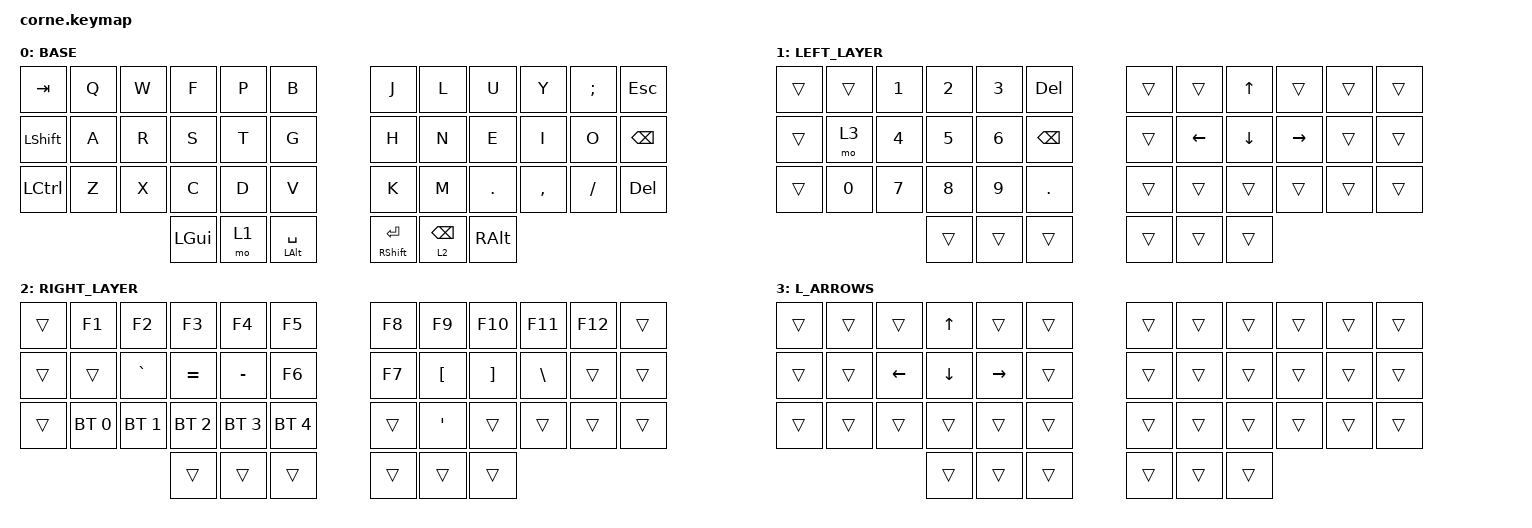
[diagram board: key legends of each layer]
/*
 * Copyright (c) 2020 The ZMK Contributors
 *
 * SPDX-License-Identifier: MIT
 */

#include <behaviors.dtsi>
#include <dt-bindings/zmk/keys.h>
#include <dt-bindings/zmk/bt.h>

#include <behaviors.dtsi>
#include <dt-bindings/zmk/bt.h>
#include <dt-bindings/zmk/keys.h>

#include <behaviors.dtsi>
#include <dt-bindings/zmk/bt.h>
#include <dt-bindings/zmk/keys.h>

/ {
    combos {
        compatible = "zmk,combos";

        copy_combo {
            bindings = <&copy>;
            key-positions = <15 16>;
            timeout-ms = <30>;
            require-prior-idle-ms = <30>;
            layers = <0>;
        };

        paste_combo {
            bindings = <&paste>;
            key-positions = <16 27>;
            timeout-ms = <30>;
            require-prior-idle-ms = <30>;
            layers = <0>;
        };

        cut_combo {
            bindings = <&cut>;
            key-positions = <16 3>;
            timeout-ms = <30>;
            require-prior-idle-ms = <30>;
            layers = <0>;
        };

        select_all_combo {
            bindings = <&select_all>;
            key-positions = <16 14>;
            timeout-ms = <30>;
            require-prior-idle-ms = <30>;
            layers = <0>;
        };

        enter_combo {
            bindings = <&kp ENTER>;
            key-positions = <27 28>;
            timeout-ms = <30>;
            require-prior-idle-ms = <30>;
            layers = <0>;
        };

        undo_combo {
            bindings = <&undo>;
            key-positions = <27 26>;
            timeout-ms = <30>;
            require-prior-idle-ms = <30>;
            layers = <0>;
        };

        redo_combo {
            bindings = <&redo>;
            key-positions = <26 28>;
            timeout-ms = <30>;
            require-prior-idle-ms = <30>;
            layers = <0>;
        };

        save_combo {
            bindings = <&save>;
            key-positions = <15 14>;
            timeout-ms = <30>;
            require-prior-idle-ms = <30>;
            layers = <0>;
        };

        tab_combo {
            bindings = <&kp TAB>;
            key-positions = <13 16>;
            timeout-ms = <30>;
            require-prior-idle-ms = <30>;
            layers = <0>;
        };
    };

    macros {
        copy: copy {
            compatible = "zmk,behavior-macro";
            #binding-cells = <0>;
            bindings =
                <&macro_press>,
                <&kp LCTRL>,
                <&macro_tap>,
                <&kp C>,
                <&macro_release>,
                <&kp LCTRL>;

            label = "COPY";
        };

        paste: paste {
            compatible = "zmk,behavior-macro";
            #binding-cells = <0>;
            bindings =
                <&macro_press>,
                <&kp LCTRL>,
                <&macro_tap>,
                <&kp V>,
                <&macro_release>,
                <&kp LCTRL>;

            label = "PASTE";
        };

        cut: cut {
            compatible = "zmk,behavior-macro";
            #binding-cells = <0>;
            bindings =
                <&macro_press>,
                <&kp LCTRL>,
                <&macro_tap>,
                <&kp X>,
                <&macro_release>,
                <&kp LCTRL>;

            label = "CUT";
        };

        save: save {
            compatible = "zmk,behavior-macro";
            #binding-cells = <0>;
            bindings =
                <&macro_press>,
                <&kp LCTRL>,
                <&macro_tap>,
                <&kp S>,
                <&macro_release>,
                <&kp LCTRL>;

            label = "SAVE";
        };

        undo: undo {
            compatible = "zmk,behavior-macro";
            #binding-cells = <0>;
            bindings =
                <&macro_press>,
                <&kp LCTRL>,
                <&macro_tap>,
                <&kp Z>,
                <&macro_release>,
                <&kp LCTRL>;

            label = "UNDO";
        };

        select_all: select_all {
            compatible = "zmk,behavior-macro";
            #binding-cells = <0>;
            bindings =
                <&macro_press>,
                <&kp LCTRL>,
                <&macro_tap>,
                <&kp A>,
                <&macro_release>,
                <&kp LCTRL>;

            label = "SELECT_ALL";
        };

        redo: redo {
            compatible = "zmk,behavior-macro";
            #binding-cells = <0>;
            bindings =
                <&macro_press>,
                <&kp LCTRL &kp LEFT_SHIFT>,
                <&macro_tap>,
                <&kp Z>,
                <&macro_release>,
                <&kp LCTRL &kp LEFT_SHIFT>;

            label = "REDO";
        };
    };

    keymap {
        compatible = "zmk,keymap";

        BASE {
            // -----------------------------------------------------------------------------------------
            // |  TAB |  Q  |  W  |  E  |  R  |  T  |   |  Y  |  U   |  I  |  O  |  P  | BSPC |
            // | CTRL |  A  |  S  |  D  |  F  |  G  |   |  H  |  J   |  K  |  L  |  ;  |  '   |
            // | SHFT |  Z  |  X  |  C  |  V  |  B  |   |  N  |  M   |  ,  |  .  |  /  | ESC  |
            //                    | GUI | LWR | SPC |   | ENT | RSE  | ALT |

            bindings = <
&kp TAB    &kp Q  &kp W  &kp F     &kp P  &kp B                 &kp J                &kp L            &kp U     &kp Y      &kp SEMI  &kp ESC
&kp LSHFT  &kp A  &kp R  &kp S     &kp T  &kp G                 &kp H                &kp N            &kp E     &kp I      &kp O     &kp BSPC
&kp LCTRL  &kp Z  &kp X  &kp C     &kp D  &kp V                 &kp K                &kp M            &kp DOT   &kp COMMA  &kp FSLH  &kp DELETE
                         &kp LGUI  &mo 1  &mt LEFT_ALT SPACE    &mt RIGHT_SHIFT RET  &lt 2 BACKSPACE  &kp RALT
            >;
        };

        LEFT_LAYER {
            // -----------------------------------------------------------------------------------------
            // |  TAB |  1  |  2  |  3  |  4  |  5  |   |  6  |  7  |  8  |  9  |  0  | BSPC |
            // | BTCLR| BT1 | BT2 | BT3 | BT4 | BT5 |   | LFT | DWN |  UP | RGT |     |      |
            // | SHFT |     |     |     |     |     |   |     |     |     |     |     |      |
            //                    | GUI |     | SPC |   | ENT |     | ALT |

            bindings = <
&trans  &trans  &kp N1  &kp N2  &kp N3  &kp DELETE    &trans  &trans    &kp UP_ARROW  &trans     &trans  &trans
&trans  &mo 3   &kp N4  &kp N5  &kp N6  &kp BSPC      &trans  &kp LEFT  &kp DOWN      &kp RIGHT  &trans  &trans
&trans  &kp N0  &kp N7  &kp N8  &kp N9  &kp DOT       &trans  &trans    &trans        &trans     &trans  &trans
                        &trans  &trans  &trans        &trans  &trans    &trans
            >;
        };

        RIGHT_LAYER {
            // -----------------------------------------------------------------------------------------
            // |  TAB |  !  |  @  |  #  |  $  |  %  |   |  ^  |  &  |  *  |  (  |  )  | BSPC |
            // | CTRL |     |     |     |     |     |   |  -  |  =  |  [  |  ]  |  \  |  `   |
            // | SHFT |     |     |     |     |     |   |  _  |  +  |  {  |  }  | "|" |  ~   |
            //                    | GUI |     | SPC |   | ENT |     | ALT |

            bindings = <
&trans  &kp F1        &kp F2        &kp F3        &kp F4        &kp F5          &kp F8  &kp F9    &kp F10   &kp F11   &kp F12  &trans
&trans  &trans        &kp GRAVE     &kp EQUAL     &kp MINUS     &kp F6          &kp F7  &kp LBKT  &kp RBKT  &kp BSLH  &trans   &trans
&trans  &bt BT_SEL 0  &bt BT_SEL 1  &bt BT_SEL 2  &bt BT_SEL 3  &bt BT_SEL 4    &trans  &kp APOS  &trans    &trans    &trans   &trans
                                    &trans        &trans        &trans          &trans  &trans    &trans
            >;
        };

        L_ARROWS {
            bindings = <
&trans  &trans  &trans    &kp UP_ARROW  &trans     &trans    &trans  &trans  &trans  &trans  &trans  &trans
&trans  &trans  &kp LEFT  &kp DOWN      &kp RIGHT  &trans    &trans  &trans  &trans  &trans  &trans  &trans
&trans  &trans  &trans    &trans        &trans     &trans    &trans  &trans  &trans  &trans  &trans  &trans
                          &trans        &trans     &trans    &trans  &trans  &trans
            >;
        };
    };
};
